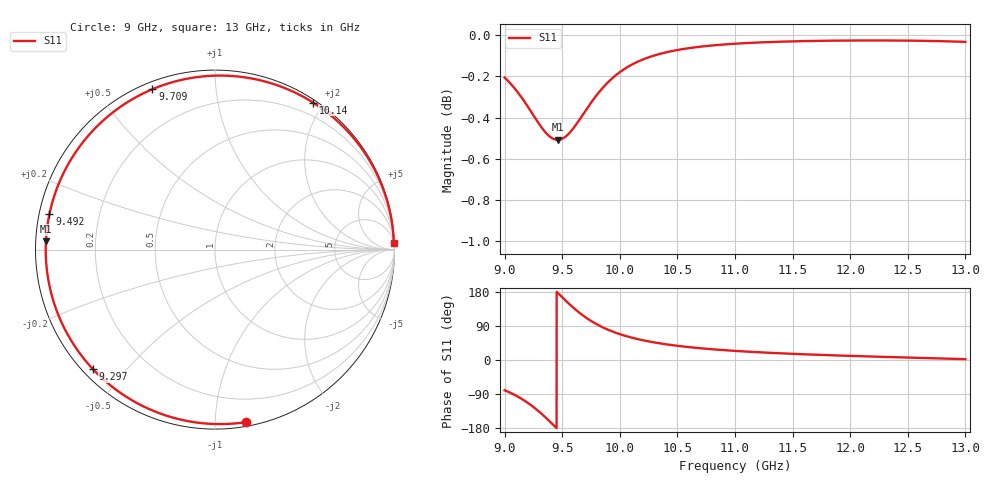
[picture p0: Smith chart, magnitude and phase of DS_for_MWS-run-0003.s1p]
! TOUCHSTONE file generated by CST DESIGN STUDIO
! Date and time: Tue Feb  4 14:15:56 2025
! Project name: C:\Work\MatlabApps\UnitCellOptimizationMatlab\CST\unitcell.cst
! Tree item: Tasks\Sweep1\SPara1\S-Parameters
! Header version: 2024
! Port assignment regex: !\s*Touchstone port\s*([0-9]+)\s*=\s*(CST MWS port|CST DES external port|CST DES block port)\s*(.+)\s* \(\"(.*)\"\)(\s*mode\s*([0-9]+))?.*
! Touchstone port assignment:
! Touchstone port 1 = CST DES external port 1 ("")
# GHz S MA R 50
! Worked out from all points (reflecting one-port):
!   4001 points, 9 GHz to 13 GHz, reference 50 ohm
!   lowest |S11| = -0.5 dB at 9.461 GHz (marker M1), VSWR 34.21, Z = 1.46 + j1.23 ohm
!   phase of S11 starts at -80 deg and turns -278 deg over the sweep
!   S11 on the Smith chart (normalised r, x): 9 GHz: 0.03, -1.20; 9.297 GHz: 0.03, -0.41; 9.492 GHz: 0.03, +0.11; 9.709 GHz: 0.03, +0.68; 10.14 GHz: 0.03, +1.87; 13 GHz: 5, +51
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9  0.9767 -79.8
9.072  0.9719 -89.8
9.167  0.9641 -106.2
9.234  0.9578 -120.3
9.297  0.9518 -135.6
9.34  0.9482 -147.2
9.385  0.9453 -160.0
9.424  0.9437 -171.6
9.461  0.9432 177.2
9.492  0.9436 167.8
9.5  0.9438 165.4
9.549  0.946 151.1
9.606  0.9501 135.5
9.656  0.9544 123.1
9.709  0.9593 111.3
9.765  0.9643 100.4
9.829  0.9694 89.6
9.912  0.975 78.1
10  0.9796 68.2
10.14  0.9849 56.2
10.302  0.9888 46.2
10.5  0.9918 37.4
10.722  0.9938 30.4
11  0.9953 24.0
11.5  0.9966 16.3
12  0.9971 10.9
12.5  0.997 6.4
13  0.9963 2.2
